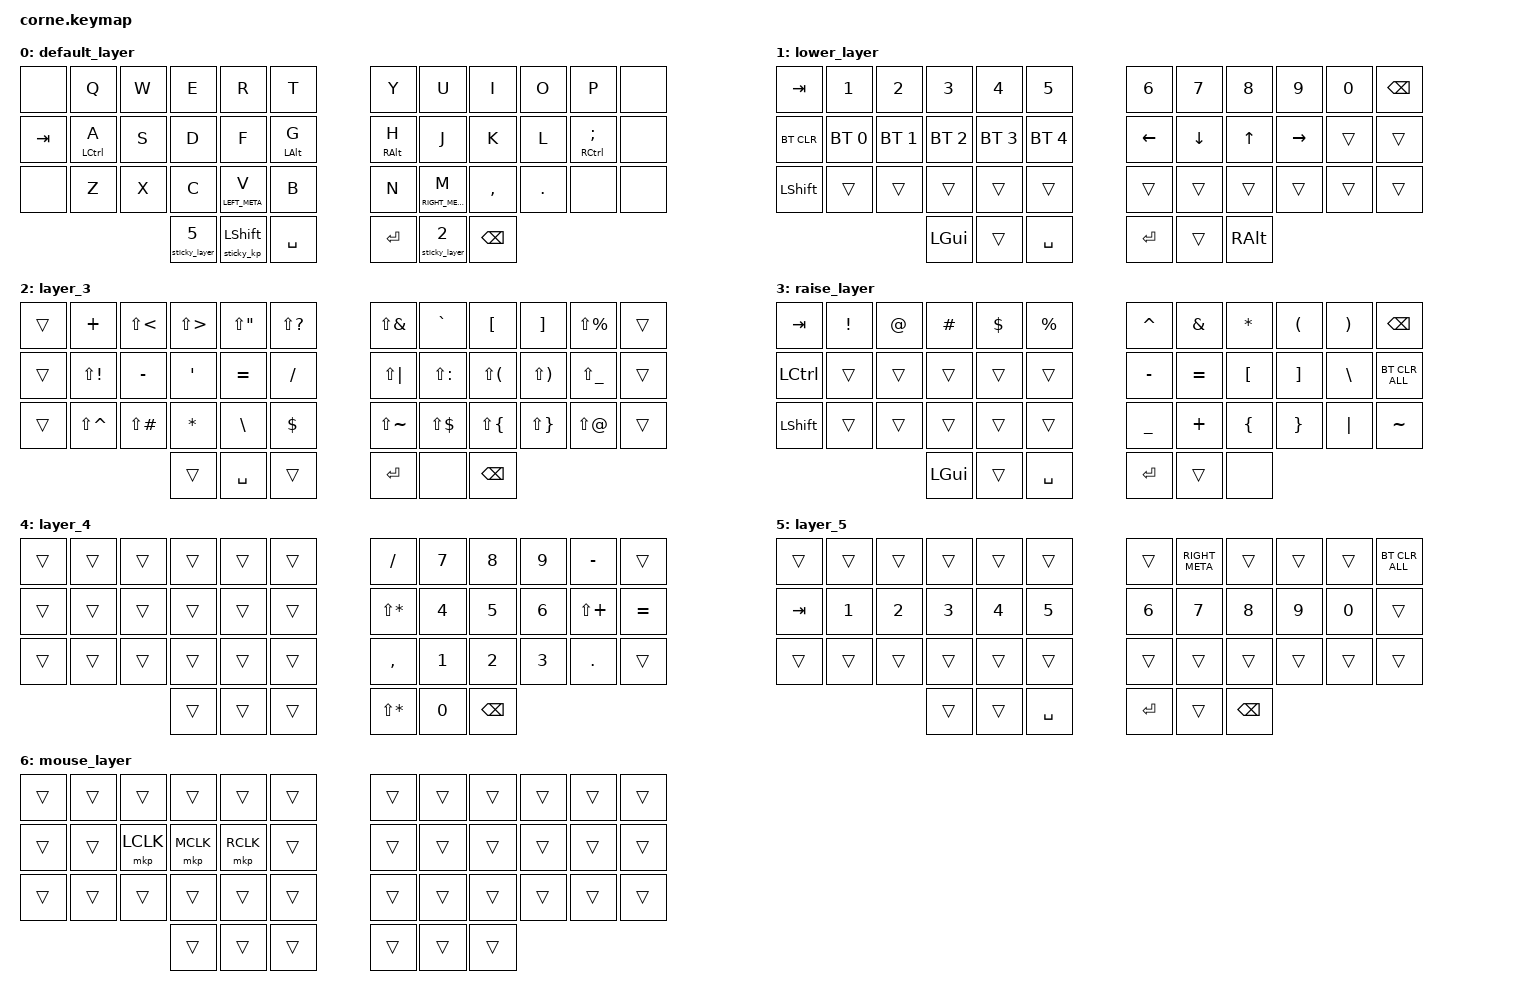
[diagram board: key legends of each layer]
/*
 * Copyright (c) 2020 The ZMK Contributors
 *
 * SPDX-License-Identifier: MIT
 */

#include <behaviors.dtsi>
#include <dt-bindings/zmk/bt.h>
#include <dt-bindings/zmk/keys.h>
#include <dt-bindings/zmk/mouse.h>

/ {
    behaviors {
        hml: hml {
            compatible = "zmk,behavior-hold-tap";
            label = "HML";
            bindings = <&kp>, <&kp>;

            #binding-cells = <2>;
            tapping-term-ms = <200>;
            flavor = "balanced";
            quick-tap-ms = <175>;
            require-prior-idle-ms = <150>;
            hold-trigger-key-positions = <6 7 8 9 10 11 18 19 20 21 22 23 30 31 32 33 34 35 39 40 41>;
            hold-trigger-on-release;
        };

        hm_layer: hm_layer {
            compatible = "zmk,behavior-hold-tap";
            label = "HM_LAYER";
            bindings = <&mo>, <&kp>;

            #binding-cells = <2>;
            tapping-term-ms = <150>;
            quick-tap-ms = <100>;
            require-prior-idle-ms = <150>;
            flavor = "tap-preferred";
            hold-trigger-on-release;
        };

        hmr: hmr {
            compatible = "zmk,behavior-hold-tap";
            label = "HMR";
            bindings = <&kp>, <&kp>;

            #binding-cells = <2>;
            tapping-term-ms = <200>;
            flavor = "balanced";
            quick-tap-ms = <175>;
            require-prior-idle-ms = <150>;
            hold-trigger-on-release;
            hold-trigger-key-positions = <0 1 2 3 4 5 12 13 14 15 16 17 24 25 26 27 28 29 36 37 38>;
        };

        sticky_kp: sticky_kp {
            compatible = "zmk,behavior-sticky-key";
            label = "STICKY_KP";
            bindings = <&kp>;
            #binding-cells = <1>;
            release-after-ms = <1500>;
        };

        sticky_layer: sticky_layer {
            compatible = "zmk,behavior-sticky-key";
            label = "STICKY_LAYER";
            bindings = <&mo>;
            #binding-cells = <1>;
            release-after-ms = <1500>;
        };
    };

    combos {
        compatible = "zmk,combos";

        jk_escape {
            bindings = <&kp ESCAPE>;
            key-positions = <19 20>;
        };
    };

    keymap {
        compatible = "zmk,keymap";

        default_layer {
            // -----------------------------------------------------------------------------------------
            // |  TAB |  Q  |  W  |  E  |  R  |  T  |   |  Y  |  U   |  I  |  O  |  P  | BKSP |
            // | CTRL |  A  |  S  |  D  |  F  |  G  |   |  H  |  J   |  K  |  L  |  ;  |  '   |
            // | SHFT |  Z  |  X  |  C  |  V  |  B  |   |  N  |  M   |  ,  |  .  |  /  | ESC  |
            //                    | GUI | LWR | SPC |   | ENT | RSE  | ALT |

            bindings = <
&none    &kp Q         &kp W  &kp E            &kp R                  &kp T              &kp Y             &kp U              &kp I          &kp O    &kp P                 &none
&kp TAB  &hml LCTRL A  &kp S  &kp D            &kp F                  &hml LEFT_ALT G    &hmr RIGHT_ALT H  &kp J              &kp K          &kp L    &hmr RCTRL SEMICOLON  &none
&none    &kp Z         &kp X  &kp C            &hml LEFT_META V       &kp B              &kp N             &hmr RIGHT_META M  &kp COMMA      &kp DOT  &none                 &none
                              &sticky_layer 5  &sticky_kp LEFT_SHIFT  &kp SPACE          &kp RET           &sticky_layer 2    &kp BACKSPACE
            >;
        };

        lower_layer {
            // -----------------------------------------------------------------------------------------
            // |  TAB |  1  |  2  |  3  |  4  |  5  |   |  6  |  7  |  8  |  9  |  0  | BKSP |
            // | BTCLR| BT1 | BT2 | BT3 | BT4 | BT5 |   | LFT | DWN |  UP | RGT |     |      |
            // | SHFT |     |     |     |     |     |   |     |     |     |     |     |      |
            //                    | GUI |     | SPC |   | ENT |     | ALT |

            bindings = <
&kp TAB     &kp N1        &kp N2        &kp N3        &kp N4        &kp N5          &kp N6    &kp N7    &kp N8    &kp N9     &kp N0  &kp BSPC
&bt BT_CLR  &bt BT_SEL 0  &bt BT_SEL 1  &bt BT_SEL 2  &bt BT_SEL 3  &bt BT_SEL 4    &kp LEFT  &kp DOWN  &kp UP    &kp RIGHT  &trans  &trans
&kp LSHFT   &trans        &trans        &trans        &trans        &trans          &trans    &trans    &trans    &trans     &trans  &trans
                                        &kp LGUI      &trans        &kp SPACE       &kp RET   &trans    &kp RALT
            >;
        };

        layer_3 {
            bindings = <
&trans  &kp PLUS       &kp LS(LT)     &kp LS(GT)    &kp LS(DQT)    &kp LS(QMARK)    &kp LS(AMPS)   &kp GRAVE       &kp LBKT       &kp RBKT      &kp LS(PRCNT)  &trans
&trans  &kp LS(EXCL)   &kp MINUS      &kp APOS      &kp EQUAL      &kp SLASH        &kp LS(PIPE)   &kp LS(COLON)   &kp LS(LPAR)   &kp LS(RPAR)  &kp LS(UNDER)  &trans
&trans  &kp LS(CARET)  &kp LS(POUND)  &kp ASTERISK  &kp BACKSLASH  &kp DOLLAR       &kp LS(TILDE)  &kp LS(DOLLAR)  &kp LS(LBRC)   &kp LS(RBRC)  &kp LS(AT)     &trans
                                      &trans        &kp SPACE      &trans           &kp RET        &none           &kp BACKSPACE
            >;
        };

        raise_layer {
            // -----------------------------------------------------------------------------------------
            // |  TAB |  !  |  @  |  #  |  $  |  %  |   |  ^  |  &  |  *  |  (  |  )  | BKSP |
            // | CTRL |     |     |     |     |     |   |  -  |  =  |  [  |  ]  |  \  |  `   |
            // | SHFT |     |     |     |     |     |   |  _  |  +  |  {  |  }  | "|" |  ~   |
            //                    | GUI |     | SPC |   | ENT |     | ALT |

            bindings = <
&kp TAB    &kp EXCL  &kp AT  &kp HASH  &kp DLLR  &kp PRCNT    &kp CARET  &kp AMPS   &kp ASTRK  &kp LPAR  &kp RPAR  &kp BSPC
&kp LCTRL  &trans    &trans  &trans    &trans    &trans       &kp MINUS  &kp EQUAL  &kp LBKT   &kp RBKT  &kp BSLH  &bt BT_CLR_ALL
&kp LSHFT  &trans    &trans  &trans    &trans    &trans       &kp UNDER  &kp PLUS   &kp LBRC   &kp RBRC  &kp PIPE  &kp TILDE
                             &kp LGUI  &trans    &kp SPACE    &kp RET    &trans     &none
            >;
        };

        layer_4 {
            bindings = <
&trans  &trans  &trans  &trans  &trans  &trans    &kp FSLH      &kp N7  &kp N8         &kp N9  &kp MINUS     &trans
&trans  &trans  &trans  &trans  &trans  &trans    &kp LS(STAR)  &kp N4  &kp N5         &kp N6  &kp LS(PLUS)  &kp EQUAL
&trans  &trans  &trans  &trans  &trans  &trans    &kp COMMA     &kp N1  &kp N2         &kp N3  &kp DOT       &trans
                        &trans  &trans  &trans    &kp LS(STAR)  &kp N0  &kp BACKSPACE
            >;
        };

        layer_5 {
            bindings = <
&trans   &trans  &trans  &trans  &trans  &trans       &trans   &kp RIGHT_META  &trans         &trans  &trans  &bt BT_CLR_ALL
&kp TAB  &kp N1  &kp N2  &kp N3  &kp N4  &kp N5       &kp N6   &kp N7          &kp N8         &kp N9  &kp N0  &trans
&trans   &trans  &trans  &trans  &trans  &trans       &trans   &trans          &trans         &trans  &trans  &trans
                         &trans  &trans  &kp SPACE    &kp RET  &trans          &kp BACKSPACE
            >;
        };

        mouse_layer {
            bindings = <
&trans  &trans  &trans        &trans        &trans        &trans           &trans  &trans  &trans  &trans  &trans  &trans
&trans  &trans  &mkp LCLK     &mkp MCLK     &mkp RCLK     &trans           &trans  &trans  &trans  &trans  &trans  &trans
&trans  &trans  &trans        &trans        &trans        &trans           &trans  &trans  &trans  &trans  &trans  &trans
                              &trans        &trans        &trans           &trans  &trans  &trans
            >;
        };
    };
};
